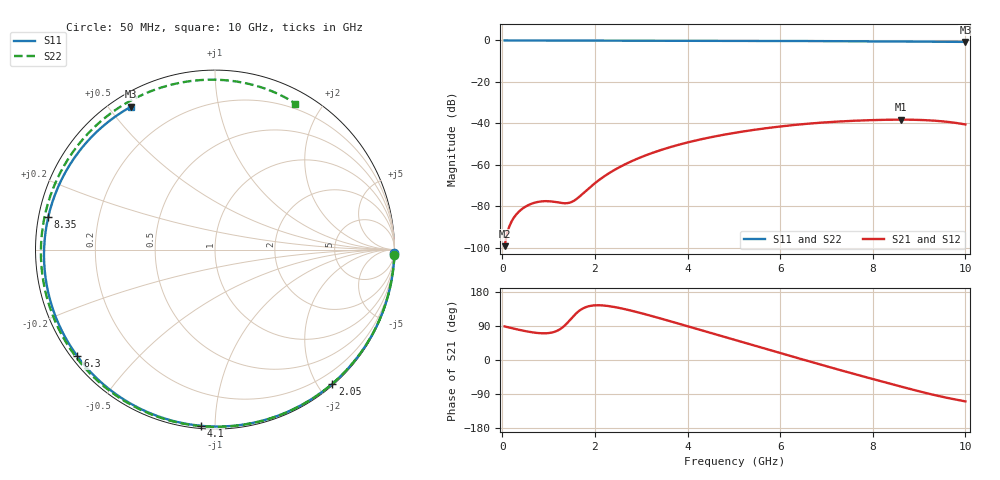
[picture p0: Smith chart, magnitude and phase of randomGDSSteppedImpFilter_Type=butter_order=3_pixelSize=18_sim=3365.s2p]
! freq	dB(S11)	phase(S11)	dB(S12)	phase(S12)
!  dB(S21)	phase(S21)	dB(S22)	phase(S22)
!S-par simulation data
#  GHz  S  DB  R 50
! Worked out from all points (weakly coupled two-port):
!   200 points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, 50 MHz to 10 GHz, reference 50 ohm
!   highest |S21| = -38.16 dB at 8.6 GHz (marker M1); lowest = -99.1 dB at 50 MHz (marker M2)
!   lowest |S11| = -0.7 dB at 10 GHz (marker M3), VSWR 25.12, Z = 2.64 + j28.6 ohm
!   |S11| at or under -10 dB: nowhere
!   |S22| runs from -0.6 to 0.0 dB; largest |S21 - S12| = 0
!   S11 on the Smith chart (normalised r, x): 50 MHz: 0, -94; 2.05 GHz: 0.02, -2.21; 4.1 GHz: 0.01, -0.92; 6.3 GHz: 0.02, -0.34; 8.35 GHz: 0.03, +0.10; 10 GHz: 0.05, +0.57
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0.05  -0.00 -1.2  -99.12 88.5  -99.12 88.5  -0.00 -1.8
0.5  -0.02 -12.1  -80.09 76.2  -80.09 76.2  -0.03 -18.0
0.7  -0.02 -16.9  -78.17 72.1  -78.17 72.1  -0.03 -25.1
0.9  -0.03 -21.7  -77.46 70.4  -77.46 70.4  -0.04 -32.2
1.4  -0.04 -33.6  -78.40 97.3  -78.40 97.3  -0.06 -49.5
1.55  -0.05 -37.1  -77.20 117.5  -77.20 117.5  -0.07 -54.6
1.75  -0.05 -41.8  -73.59 136.6  -73.59 136.6  -0.08 -61.2
2.05  -0.06 -48.8  -67.91 144.5  -67.91 144.5  -0.09 -71.0
2.35  -0.07 -55.7  -63.34 141.3  -63.34 141.3  -0.10 -80.6
2.65  -0.08 -62.5  -59.68 134.1  -59.68 134.1  -0.11 -89.9
3.4  -0.11 -79.3  -52.97 110.2  -52.97 110.2  -0.14 -112.1
4.1  -0.13 -94.6  -48.61 85.5  -48.61 85.5  -0.17 -131.7
4.6  -0.16 -105.4  -46.20 67.7  -46.20 67.7  -0.19 -145.3
5.05  -0.18 -115.1  -44.40 51.8  -44.40 51.8  -0.21 -157.2
5.7  -0.22 -129.1  -42.28 29.0  -42.28 29.0  -0.25 -174.3
6.3  -0.26 -142.2  -40.74 7.9  -40.74 7.9  -0.29 169.9
6.7  -0.30 -151.1  -39.93 -6.1  -39.93 -6.1  -0.32 159.2
7.5  -0.38 -169.7  -38.79 -33.6  -38.79 -33.6  -0.37 137.4
8.35  -0.48 169.1  -38.20 -61.7  -38.20 -61.7  -0.42 113.1
8.6  -0.51 162.4  -38.16 -69.8  -38.16 -69.8  -0.44 105.7
9.35  -0.61 140.9  -38.69 -93.0  -38.69 -93.0  -0.50 82.7
10  -0.69 120.4  -40.48 -109.2  -40.48 -109.2  -0.64 61.1
